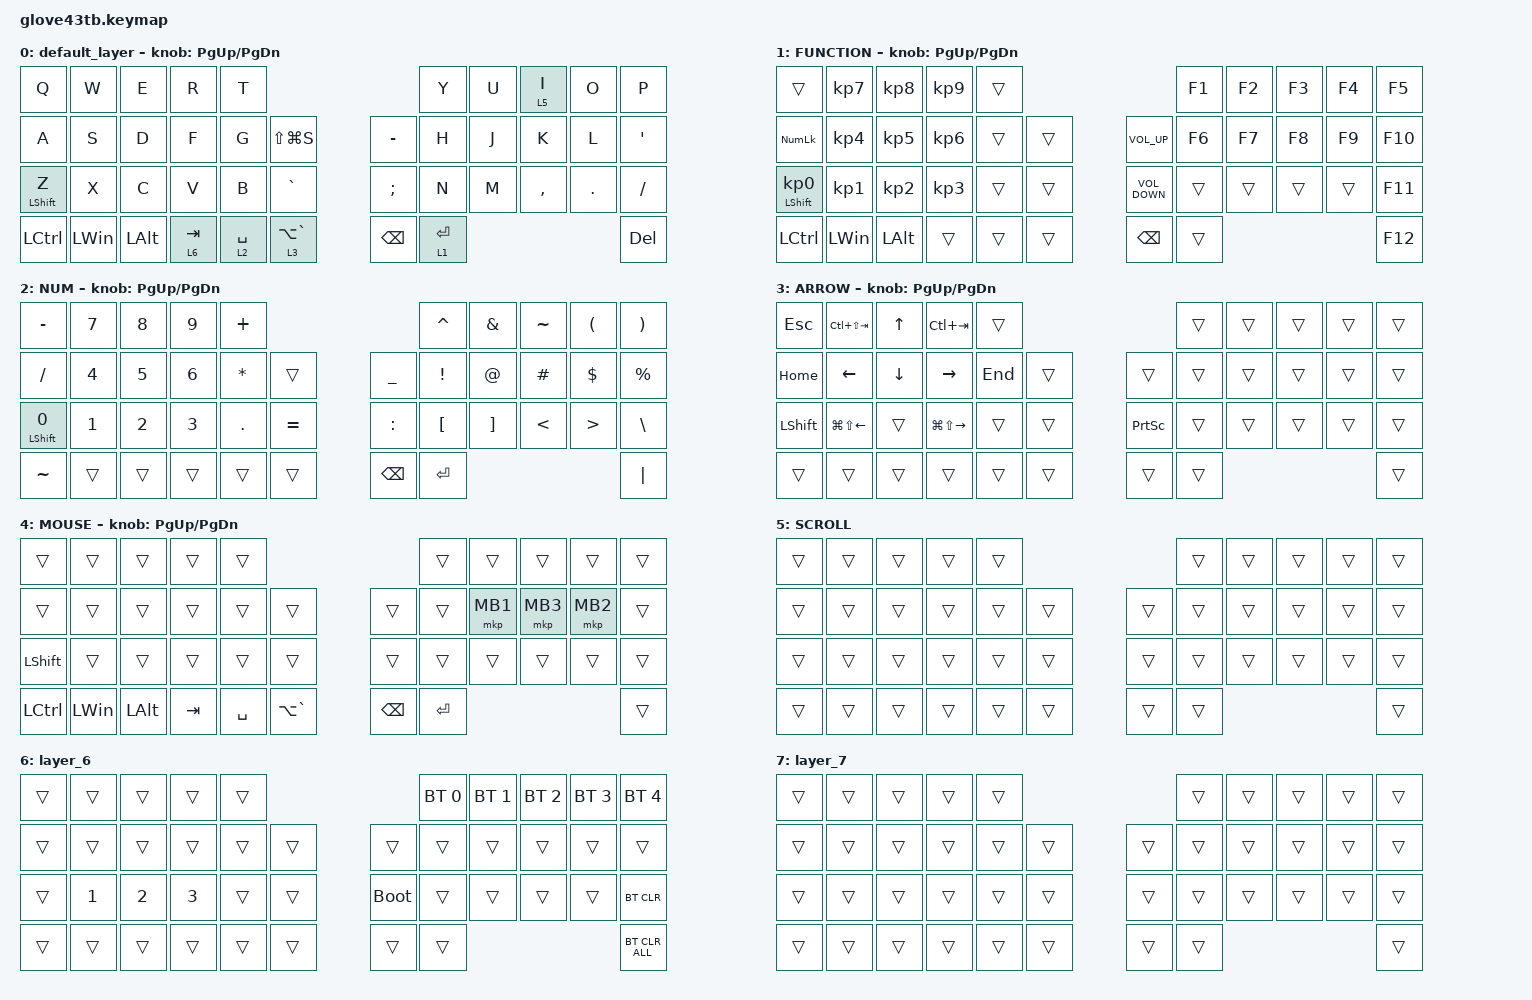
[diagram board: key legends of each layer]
#include <behaviors.dtsi>
#include <dt-bindings/zmk/bt.h>
#include <dt-bindings/zmk/keys.h>
#include <dt-bindings/zmk/pointing.h>

// マウススクロール量の規定

#define ZMK_MOUSE_DEFAULT_SCRL_VAL 50

&mt {
    flavor = "balanced";
    quick-tap-ms = <0>;
};

&trackball {
    automouse-layer = <4>;
    scroll-layers = <5>;

    // arrows {
    //     layers = <3>;
    //     bindings =
    //         <&kp RIGHT_ARROW>,
    //         <&kp LEFT_ARROW>,
    //         <&kp UP_ARROW>,
    //         <&kp DOWN_ARROW>;
    //     tick = <10>;
    //     wait-ms = <5>;
    //     tap-ms = <5>;
    // };
};

/ {
    combos {
        compatible = "zmk,combos";

        double_quotation {
            bindings = <&kp DOUBLE_QUOTES>;
            key-positions = <20 21>;
        };
    };

    macros {
        to_layer_0: to_layer_0 {
            compatible = "zmk,behavior-macro-one-param";
            #binding-cells = <1>;
            bindings = <&to 0 &macro_param_1to1 &kp MACRO_PLACEHOLDER>;
            label = "TO_LAYER_0";
        };
    };

    behaviors {
        lt_to_layer_0: lt_to_layer_0 {
            compatible = "zmk,behavior-hold-tap";
            label = "LAYER_TAP_TO_0";
            bindings = <&mo>, <&to_layer_0>;

            #binding-cells = <2>;
            tapping-term-ms = <200>;
        };

        //  behaviors に追加
        // 新しいスクロール動作の追加

        scroll_up_down: behavior_sensor_rotate_mouse_wheel_up_down {
            compatible = "zmk,behavior-sensor-rotate";
            #sensor-binding-cells = <0>;
            bindings = <&msc SCRL_UP>, <&msc SCRL_DOWN>;

            // 追加: スクロールのタップ時間を設定 (20ms)

            tap-ms = <20>;
        };
    };

    keymap {
        compatible = "zmk,keymap";

        default_layer {
            bindings = <
&kp Q             &kp W         &kp E         &kp R                 &kp T                                                       &kp Y        &kp U  &lt 5 I    &kp O    &kp P
&kp A             &kp S         &kp D         &kp F                 &kp G        &kp LS(LG(S))                   &kp MINUS      &kp H        &kp J  &kp K      &kp L    &kp SQT
&mt LEFT_SHIFT Z  &kp X         &kp C         &kp V                 &kp B        &kp GRAVE                       &kp SEMICOLON  &kp N        &kp M  &kp COMMA  &kp DOT  &kp SLASH
&kp LCTRL         &kp LEFT_WIN  &kp LEFT_ALT  &lt_to_layer_0 6 TAB  &lt 2 SPACE  &lt_to_layer_0 3 LA(GRAVE)      &kp BACKSPACE  &lt 1 ENTER                             &kp DEL
            >;

            sensor-bindings = <&inc_dec_kp PAGE_UP PAGE_DOWN>;
        };

        FUNCTION {
            bindings = <
&trans                      &kp KP_NUMBER_7  &kp KP_N8     &kp KP_NUMBER_9  &trans                                 &kp F1  &kp F2  &kp F3  &kp F4  &kp F5
&kp KP_NUM                  &kp KP_NUMBER_4  &kp KP_N5     &kp KP_NUMBER_6  &trans  &trans      &kp C_VOLUME_UP    &kp F6  &kp F7  &kp F8  &kp F9  &kp F10
&mt LEFT_SHIFT KP_NUMBER_0  &kp KP_N1        &kp KP_N2     &kp KP_N3        &trans  &trans      &kp C_VOLUME_DOWN  &trans  &trans  &trans  &trans  &kp F11
&kp LCTRL                   &kp LEFT_WIN     &kp LEFT_ALT  &trans           &trans  &trans      &kp BACKSPACE      &trans                          &kp F12
            >;

            sensor-bindings = <&inc_dec_kp PAGE_UP PAGE_DOWN>;
        };

        NUM {
            bindings = <
&kp MINUS                &kp NUMBER_7  &kp NUMBER_8  &kp NUMBER_9  &kp PLUS                                     &kp CARET         &kp AMPERSAND      &kp TILDE      &kp LEFT_PARENTHESIS  &kp RIGHT_PARENTHESIS
&kp SLASH                &kp NUMBER_4  &kp NUMBER_5  &kp NUMBER_6  &kp ASTERISK  &trans         &kp UNDERSCORE  &kp EXCLAMATION   &kp AT_SIGN        &kp HASH       &kp DOLLAR            &kp PERCENT
&mt LEFT_SHIFT NUMBER_0  &kp NUMBER_1  &kp NUMBER_2  &kp NUMBER_3  &kp PERIOD    &kp EQUAL      &kp COLON       &kp LEFT_BRACKET  &kp RIGHT_BRACKET  &kp LESS_THAN  &kp GREATER_THAN      &kp BACKSLASH
&kp TILDE                &trans        &trans        &trans        &trans        &trans         &kp BACKSPACE   &kp ENTER                                                                 &kp PIPE
            >;

            sensor-bindings = <&inc_dec_kp PAGE_UP PAGE_DOWN>;
        };

        ARROW {
            bindings = <
&kp ESCAPE      &kp LC(LS(TAB))         &kp UP_ARROW    &kp LC(TAB)              &trans                                &trans  &trans  &trans  &trans  &trans
&kp HOME        &kp LEFT_ARROW          &kp DOWN_ARROW  &kp RIGHT_ARROW          &kp END  &trans      &trans           &trans  &trans  &trans  &trans  &trans
&kp LEFT_SHIFT  &kp LG(LS(LEFT_ARROW))  &trans          &kp LG(LS(RIGHT_ARROW))  &trans   &trans      &kp PRINTSCREEN  &trans  &trans  &trans  &trans  &trans
&trans          &trans                  &trans          &trans                   &trans   &trans      &trans           &trans                          &trans
            >;

            sensor-bindings = <&inc_dec_kp PAGE_UP PAGE_DOWN>;
        };

        MOUSE {
            bindings = <
&trans          &trans        &trans        &trans   &trans                                       &trans     &trans    &trans    &trans    &trans
&trans          &trans        &trans        &trans   &trans     &trans             &trans         &trans     &mkp MB1  &mkp MB3  &mkp MB2  &trans
&kp LEFT_SHIFT  &trans        &trans        &trans   &trans     &trans             &trans         &trans     &trans    &trans    &trans    &trans
&kp LCTRL       &kp LEFT_WIN  &kp LEFT_ALT  &kp TAB  &kp SPACE  &kp LA(GRAVE)      &kp BACKSPACE  &kp ENTER                                &trans
            >;

            sensor-bindings = <&inc_dec_kp PAGE_UP PAGE_DOWN>;
        };

        SCROLL {
            bindings = <
&trans  &trans  &trans  &trans  &trans                      &trans  &trans  &trans  &trans  &trans
&trans  &trans  &trans  &trans  &trans  &trans      &trans  &trans  &trans  &trans  &trans  &trans
&trans  &trans  &trans  &trans  &trans  &trans      &trans  &trans  &trans  &trans  &trans  &trans
&trans  &trans  &trans  &trans  &trans  &trans      &trans  &trans                          &trans
            >;
        };

        layer_6 {
            bindings = <
&trans  &trans        &trans        &trans        &trans                           &bt BT_SEL 0  &bt BT_SEL 1  &bt BT_SEL 2  &bt BT_SEL 3  &bt BT_SEL 4
&trans  &trans        &trans        &trans        &trans  &trans      &trans       &trans        &trans        &trans        &trans        &trans
&trans  &kp NUMBER_1  &kp NUMBER_2  &kp NUMBER_3  &trans  &trans      &bootloader  &trans        &trans        &trans        &trans        &bt BT_CLR
&trans  &trans        &trans        &trans        &trans  &trans      &trans       &trans                                                  &bt BT_CLR_ALL
            >;
        };

        layer_7 {
            bindings = <
&trans  &trans  &trans  &trans  &trans                      &trans  &trans  &trans  &trans  &trans
&trans  &trans  &trans  &trans  &trans  &trans      &trans  &trans  &trans  &trans  &trans  &trans
&trans  &trans  &trans  &trans  &trans  &trans      &trans  &trans  &trans  &trans  &trans  &trans
&trans  &trans  &trans  &trans  &trans  &trans      &trans  &trans                          &trans
            >;
        };
    };
};
